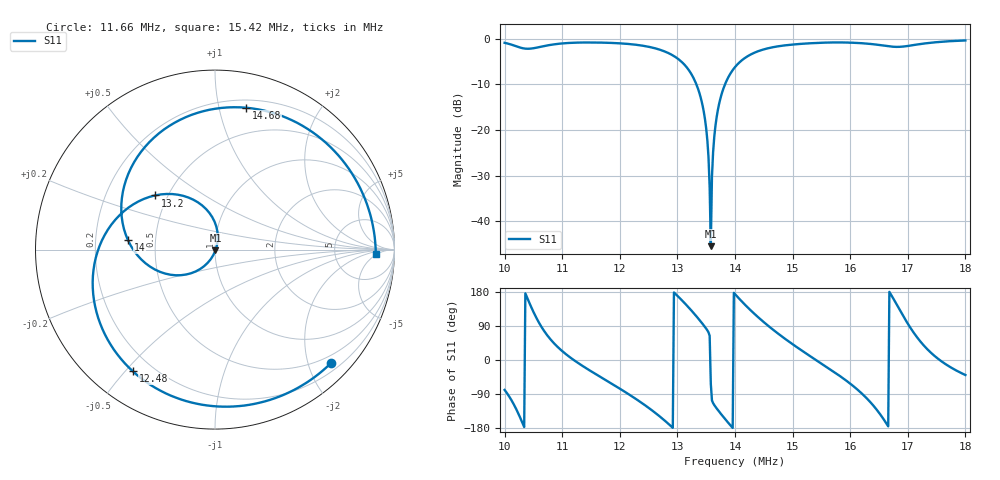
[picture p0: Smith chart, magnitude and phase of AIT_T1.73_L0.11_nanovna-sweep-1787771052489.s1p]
! S11 from AIT_T1.73_L0.11_nanovna-sweep-1787771052489.txt, converted by the rf-network-modeller history importer
# HZ S RI R 50
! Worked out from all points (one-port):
!   401 points, 10 MHz to 18 MHz, reference 50 ohm
!   lowest |S11| = -45.4 dB at 13.58 MHz (marker M1), VSWR 1.01, Z = 50.2 - j0.477 ohm
!   |S11| at or under -10 dB: 13.33 MHz to 13.83 MHz (498.8 kHz wide, 3.67 % of centre)
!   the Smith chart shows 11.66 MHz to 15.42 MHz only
!   S11 on the Smith chart (normalised r, x): 11.66 MHz: 0.35, -2.41; 12.48 MHz: 0.13, -0.53; 13.2 MHz: 0.43, +0.32; 14 MHz: 0.35, +0.05; 14.68 MHz: 0.26, +1.21; 15.42 MHz: 17, -4
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1e7  0.1722 -0.882
1.018e7  -0.4549 -0.6986
1.036e7  -0.7742 0.0563
1.05e7  -0.4722 0.6255
1.062e7  -0.0342 0.8108
1.1e7  0.8115 0.3532
1.13e7  0.8899 -0.1627
1.166e7  0.6458 -0.6325
1.2e7  0.2202 -0.8594
1.248e7  -0.4571 -0.6785
1.3e7  -0.5969 0.111
1.32e7  -0.334 0.3019
1.344e7  -0.0153 0.1808
1.358e7  0.00246 -0.00475
1.372e7  -0.1336 -0.1319
1.4e7  -0.4846 0.0521
1.428e7  -0.4323 0.5165
1.468e7  0.1734 0.7905
1.5e7  0.6428 0.5719
1.542e7  0.896 -0.0221
1.6e7  0.4188 -0.7966
1.634e7  -0.2938 -0.8245
1.664e7  -0.816 -0.14
1.68e7  -0.6911 0.4248
1.7e7  -0.0849 0.8258
1.72e7  0.5313 0.6869
1.74e7  0.8491 0.3001
1.8e7  0.7346 -0.6085
